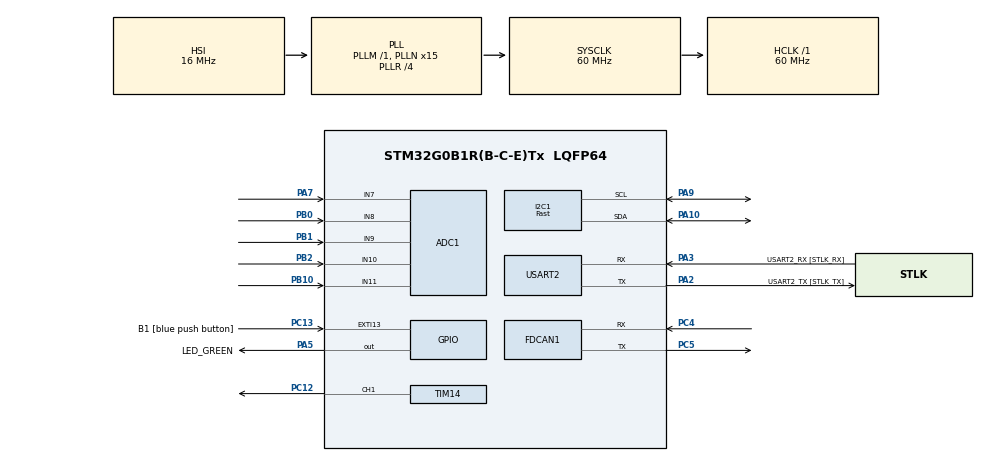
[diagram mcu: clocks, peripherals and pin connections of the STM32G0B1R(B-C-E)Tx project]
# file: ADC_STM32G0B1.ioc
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ADC1.Channel-0\#ChannelRegularConversion=ADC_CHANNEL_7
ADC1.Channel-1\#ChannelRegularConversion=ADC_CHANNEL_8
ADC1.Channel-2\#ChannelRegularConversion=ADC_CHANNEL_9
ADC1.Channel-3\#ChannelRegularConversion=ADC_CHANNEL_10
ADC1.Channel-4\#ChannelRegularConversion=ADC_CHANNEL_11
ADC1.ClockPrescaler=ADC_CLOCK_SYNC_PCLK_DIV4
ADC1.ContinuousConvMode=ENABLE
ADC1.DMAContinuousRequests=DISABLE
ADC1.DiscontinuousConvMode=DISABLE
ADC1.EOCSelection=ADC_EOC_SEQ_CONV
ADC1.LowPowerAutoWait=DISABLE
ADC1.NbrOfConversion=5
ADC1.NbrOfConversionFlag=1
ADC1.Overrun=ADC_OVR_DATA_OVERWRITTEN
ADC1.OversamplingMode=DISABLE
ADC1.Rank-0\#ChannelRegularConversion=1
ADC1.Rank-1\#ChannelRegularConversion=2
ADC1.Rank-2\#ChannelRegularConversion=3
ADC1.Rank-3\#ChannelRegularConversion=4
ADC1.Rank-4\#ChannelRegularConversion=5
ADC1.SamplingTime-0\#ChannelRegularConversion=ADC_SAMPLINGTIME_COMMON_1
ADC1.SamplingTime-1\#ChannelRegularConversion=ADC_SAMPLINGTIME_COMMON_1
ADC1.SamplingTime-2\#ChannelRegularConversion=ADC_SAMPLINGTIME_COMMON_1
ADC1.SamplingTime-3\#ChannelRegularConversion=ADC_SAMPLINGTIME_COMMON_1
ADC1.SamplingTime-4\#ChannelRegularConversion=ADC_SAMPLINGTIME_COMMON_1
ADC1.SamplingTimeCommon1=ADC_SAMPLETIME_19CYCLES_5
ADC1.SamplingTimeCommon2=ADC_SAMPLETIME_19CYCLES_5
ADC1.SelectedChannel=ADC_CHANNEL_7|ADC_CHANNEL_8|ADC_CHANNEL_9|ADC_CHANNEL_10|ADC_CHANNEL_11
ADC1.master=1
Dma.ADC1.0.Direction=DMA_PERIPH_TO_MEMORY
Dma.ADC1.0.EventEnable=DISABLE
Dma.ADC1.0.Instance=DMA1_Channel1
Dma.ADC1.0.MemDataAlignment=DMA_MDATAALIGN_WORD
Dma.ADC1.0.MemInc=DMA_MINC_ENABLE
Dma.ADC1.0.Mode=DMA_CIRCULAR
Dma.ADC1.0.PeriphDataAlignment=DMA_PDATAALIGN_HALFWORD
Dma.ADC1.0.PeriphInc=DMA_PINC_DISABLE
Dma.ADC1.0.Polarity=HAL_DMAMUX_REQ_GEN_RISING
Dma.ADC1.0.Priority=DMA_PRIORITY_HIGH
Dma.ADC1.0.RequestNumber=1
Dma.ADC1.0.SignalID=NONE
Dma.ADC1.0.SyncEnable=DISABLE
Dma.ADC1.0.SyncPolarity=HAL_DMAMUX_SYNC_NO_EVENT
Dma.ADC1.0.SyncRequestNumber=1
Dma.ADC1.0.SyncSignalID=NONE
Dma.Request0=ADC1
FDCAN1.AutoRetransmission=ENABLE
FDCAN1.CalculateBaudRateNominal=500000
FDCAN1.CalculateTimeBitNominal=2000
FDCAN1.CalculateTimeQuantumNominal=200.0
FDCAN1.NominalPrescaler=12
FDCAN1.NominalTimeSeg1=8
FDCAN1.NominalTimeSeg2=1
I2C1.I2C_Speed_Mode=I2C_Fast
I2C1.Timing=0x00B01E60
Mcu.Family=STM32G0
Mcu.Name=STM32G0B1R(B-C-E)Tx
Mcu.Package=LQFP64
NVIC.DMA1_Channel1_IRQn=true\:0\:0\:false\:false\:true\:false\:true\:true
NVIC.TIM16_FDCAN_IT0_IRQn=true\:0\:0\:false\:false\:true\:true\:true\:true
PA10.Mode=I2C
PA10.Signal=I2C1_SDA
PA13.GPIO_Label=TMS
PA13.Mode=Serial_Wire
PA13.Signal=SYS_SWDIO
PA14-BOOT0.GPIO_Label=TCK
PA14-BOOT0.Mode=Serial_Wire
PA14-BOOT0.Signal=SYS_SWCLK
PA2.GPIO_Label=USART2_TX [STLK_TX]
PA2.Mode=Asynchronous
PA2.Signal=USART2_TX
PA3.GPIO_Label=USART2_RX [STLK_RX]
PA3.Mode=Asynchronous
PA3.Signal=USART2_RX
PA5.GPIO_Label=LED_GREEN
PA5.GPIO_Speed=GPIO_SPEED_FREQ_HIGH
PA5.Signal=GPIO_Output
PA7.Mode=IN7
PA7.Signal=ADC1_IN7
PA9.Mode=I2C
PA9.Signal=I2C1_SCL
PB0.Mode=IN8
PB0.Signal=ADC1_IN8
PB1.Mode=IN9
PB1.Signal=ADC1_IN9
PB10.Mode=IN11
PB10.Signal=ADC1_IN11
PB2.Mode=IN10
PB2.Signal=ADC1_IN10
PC12.Signal=S_TIM14_CH1
PC13.GPIO_Label=B1 [blue push button]
PC13.Signal=GPXTI13
PC14-OSC32_IN\ (PC14).Mode=LSE-External-Oscillator
PC14-OSC32_IN\ (PC14).Signal=RCC_OSC32_IN
PC15-OSC32_OUT\ (PC15).Mode=LSE-External-Oscillator
PC15-OSC32_OUT\ (PC15).Signal=RCC_OSC32_OUT
PC4.Mode=FDCAN_Activate
PC4.Signal=FDCAN1_RX
PC5.Mode=FDCAN_Activate
PC5.Signal=FDCAN1_TX
PF0-OSC_IN\ (PF0).Mode=HSE-External-Oscillator
PF0-OSC_IN\ (PF0).Signal=RCC_OSC_IN
PF1-OSC_OUT\ (PF1).Mode=HSE-External-Oscillator
PF1-OSC_OUT\ (PF1).Signal=RCC_OSC_OUT
ProjectManager.HeapSize=0x200
ProjectManager.StackSize=0x400
ProjectManager.TargetToolchain=STM32CubeIDE
RCC.ADCFreq_Value=60000000
RCC.AHBFreq_Value=60000000
RCC.CortexFreq_Value=60000000
RCC.EXTERNAL_CLOCK_VALUE=12288000
RCC.HCLKFreq_Value=60000000
RCC.HSE_VALUE=8000000
RCC.HSI48_VALUE=48000000
RCC.HSI_VALUE=16000000
RCC.PLLN=15
RCC.PLLR=RCC_PLLR_DIV4
RCC.SYSCLKFreq_VALUE=60000000
RCC.SYSCLKSource=RCC_SYSCLKSOURCE_PLLCLK
RCC.USBFreq_Value=48000000
RCC.VCOOutputFreq_Value=240000000
SH.S_TIM14_CH1.0=TIM14_CH1,PWM Generation1 CH1
TIM14.Channel=TIM_CHANNEL_1
USART2.VirtualMode-Asynchronous=VM_ASYNC
VP_SYS_VS_DBSignals.Mode=DisableDeadBatterySignals
VP_TIM14_VS_ClockSourceINT.Mode=Enable_Timer
VP_TIM1_VS_ClockSourceINT.Mode=Internal
VP_TIM2_VS_ClockSourceINT.Mode=Internal
VP_TIM3_VS_ClockSourceINT.Mode=Internal
board=NUCLEO-G0B1RE

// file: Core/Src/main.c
/* USER CODE BEGIN Header */
/**
  ******************************************************************************
  * @file           : main.c
  * @brief          : Main program body
  ******************************************************************************
  * @attention
  *
  * Copyright (c) 2026 STMicroelectronics.
  * All rights reserved.
  *
  * This software is licensed under terms that can be found in the LICENSE file
  * in the root directory of this software component.
  * If no LICENSE file comes with this software, it is provided AS-IS.
  *
  ******************************************************************************
  */
/* USER CODE END Header */
#include "main.h"

ADC_HandleTypeDef hadc1;
DMA_HandleTypeDef hdma_adc1;

FDCAN_HandleTypeDef hfdcan1;

I2C_HandleTypeDef hi2c1;

TIM_HandleTypeDef htim1;
TIM_HandleTypeDef htim2;
TIM_HandleTypeDef htim3;
TIM_HandleTypeDef htim14;

UART_HandleTypeDef huart2;

void SystemClock_Config(void);
static void MX_GPIO_Init(void);
static void MX_DMA_Init(void);
static void MX_ADC1_Init(void);
static void MX_USART2_UART_Init(void);
static void MX_FDCAN1_Init(void);
static void MX_I2C1_Init(void);
static void MX_TIM1_Init(void);
static void MX_TIM2_Init(void);
static void MX_TIM3_Init(void);
static void MX_TIM14_Init(void);

/* USER CODE BEGIN 0 */
uint32_t ADC_Value[5]={0};
float ADC_VOL[5] = {0.0f};
void HAL_ADC_ConvCpltCallback(ADC_HandleTypeDef *hadc){

	if(hadc->Instance==ADC1){
	for(int i =0; i<5; i++){
		if(ADC_Value[i]>4294967295)
			ADC_Value[i] = 0;
		ADC_VOL[i] = (ADC_Value[i]*3.3f)/(4095.0f);

	}

	}
}
/* USER CODE END 0 */

int main(void)
{

  /* MCU Configuration--------------------------------------------------------*/

  /* Reset of all peripherals, Initializes the Flash interface and the Systick. */
  HAL_Init();

  /* Configure the system clock */
  SystemClock_Config();

  /* Initialize all configured peripherals */
  MX_GPIO_Init();
  MX_DMA_Init();
  MX_ADC1_Init();
  MX_USART2_UART_Init();
  MX_FDCAN1_Init();
  MX_I2C1_Init();
  MX_TIM1_Init();
  MX_TIM2_Init();
  MX_TIM3_Init();
  MX_TIM14_Init();
  /* USER CODE BEGIN 2 */
//  HAL_ADC_Start(&hadc1);
  HAL_ADC_Start_DMA(&hadc1, (uint32_t*)ADC_Value, 5);
  /* USER CODE END 2 */

  /* Infinite loop */
  /* USER CODE BEGIN WHILE */
  while (1)
  {
//	  for(int i =0; i <5; i++){
//	  HAL_ADC_PollForConversion(&hadc1, HAL_MAX_DELAY);
//	  ADC_Value[i] = HAL_ADC_GetValue(&hadc1);
//	  ADC_VOL[i] = ADC_Value[i]*3.3/4095;
//  }
	  if((ADC_VOL[0]>1.0f)||(ADC_VOL[1]<1.0f)||(ADC_VOL[2]<1.0f)||(ADC_VOL[3]<1.0f)||(ADC_VOL[4]<1.0f))
		  HAL_GPIO_TogglePin(GPIOA, GPIO_PIN_5);
	  else
		  HAL_GPIO_WritePin(GPIOA, GPIO_PIN_5, GPIO_PIN_RESET);
	  HAL_ADC_Start_DMA(&hadc1, (uint32_t*)ADC_Value, 5);
	  HAL_Delay(500);
    /* USER CODE END WHILE */

  }
}

void SystemClock_Config(void)
{
  RCC_OscInitTypeDef RCC_OscInitStruct = {0};
  RCC_ClkInitTypeDef RCC_ClkInitStruct = {0};

  /** Configure the main internal regulator output voltage
  */
  HAL_PWREx_ControlVoltageScaling(PWR_REGULATOR_VOLTAGE_SCALE1);

  /** Initializes the RCC Oscillators according to the specified parameters
  * in the RCC_OscInitTypeDef structure.
  */
  RCC_OscInitStruct.OscillatorType = RCC_OSCILLATORTYPE_HSI;
  RCC_OscInitStruct.HSIState = RCC_HSI_ON;
  RCC_OscInitStruct.HSIDiv = RCC_HSI_DIV1;
  RCC_OscInitStruct.HSICalibrationValue = RCC_HSICALIBRATION_DEFAULT;
  RCC_OscInitStruct.PLL.PLLState = RCC_PLL_ON;
  RCC_OscInitStruct.PLL.PLLSource = RCC_PLLSOURCE_HSI;
  RCC_OscInitStruct.PLL.PLLM = RCC_PLLM_DIV1;
  RCC_OscInitStruct.PLL.PLLN = 15;
  RCC_OscInitStruct.PLL.PLLP = RCC_PLLP_DIV2;
  RCC_OscInitStruct.PLL.PLLQ = RCC_PLLQ_DIV2;
  RCC_OscInitStruct.PLL.PLLR = RCC_PLLR_DIV4;
  if (HAL_RCC_OscConfig(&RCC_OscInitStruct) != HAL_OK)
  {
    Error_Handler();
  }

  /** Initializes the CPU, AHB and APB buses clocks
  */
  RCC_ClkInitStruct.ClockType = RCC_CLOCKTYPE_HCLK|RCC_CLOCKTYPE_SYSCLK
                              |RCC_CLOCKTYPE_PCLK1;
  RCC_ClkInitStruct.SYSCLKSource = RCC_SYSCLKSOURCE_PLLCLK;
  RCC_ClkInitStruct.AHBCLKDivider = RCC_SYSCLK_DIV1;
  RCC_ClkInitStruct.APB1CLKDivider = RCC_HCLK_DIV1;

  if (HAL_RCC_ClockConfig(&RCC_ClkInitStruct, FLASH_LATENCY_2) != HAL_OK)
  {
    Error_Handler();
  }
}

static void MX_ADC1_Init(void)
{

  ADC_ChannelConfTypeDef sConfig = {0};

  /** Configure the global features of the ADC (Clock, Resolution, Data Alignment and number of conversion)
  */
  hadc1.Instance = ADC1;
  hadc1.Init.ClockPrescaler = ADC_CLOCK_SYNC_PCLK_DIV4;
  hadc1.Init.Resolution = ADC_RESOLUTION_12B;
  hadc1.Init.DataAlign = ADC_DATAALIGN_RIGHT;
  hadc1.Init.ScanConvMode = ADC_SCAN_ENABLE;
  hadc1.Init.EOCSelection = ADC_EOC_SEQ_CONV;
  hadc1.Init.LowPowerAutoWait = DISABLE;
  hadc1.Init.LowPowerAutoPowerOff = DISABLE;
  hadc1.Init.ContinuousConvMode = ENABLE;
  hadc1.Init.NbrOfConversion = 5;
  hadc1.Init.DiscontinuousConvMode = DISABLE;
  hadc1.Init.ExternalTrigConv = ADC_SOFTWARE_START;
  hadc1.Init.ExternalTrigConvEdge = ADC_EXTERNALTRIGCONVEDGE_NONE;
  hadc1.Init.DMAContinuousRequests = DISABLE;
  hadc1.Init.Overrun = ADC_OVR_DATA_OVERWRITTEN;
  hadc1.Init.SamplingTimeCommon1 = ADC_SAMPLETIME_19CYCLES_5;
  hadc1.Init.SamplingTimeCommon2 = ADC_SAMPLETIME_19CYCLES_5;
  hadc1.Init.OversamplingMode = DISABLE;
  hadc1.Init.TriggerFrequencyMode = ADC_TRIGGER_FREQ_HIGH;
  if (HAL_ADC_Init(&hadc1) != HAL_OK)
  {
    Error_Handler();
  }

  /** Configure Regular Channel
  */
  sConfig.Channel = ADC_CHANNEL_7;
  sConfig.Rank = ADC_REGULAR_RANK_1;
  sConfig.SamplingTime = ADC_SAMPLINGTIME_COMMON_1;
  if (HAL_ADC_ConfigChannel(&hadc1, &sConfig) != HAL_OK)
  {
    Error_Handler();
  }

  /** Configure Regular Channel
  */
  sConfig.Channel = ADC_CHANNEL_8;
  sConfig.Rank = ADC_REGULAR_RANK_2;
  if (HAL_ADC_ConfigChannel(&hadc1, &sConfig) != HAL_OK)
  {
    Error_Handler();
  }

  /** Configure Regular Channel
  */
  sConfig.Channel = ADC_CHANNEL_9;
  sConfig.Rank = ADC_REGULAR_RANK_3;
  if (HAL_ADC_ConfigChannel(&hadc1, &sConfig) != HAL_OK)
  {
    Error_Handler();
  }

  /** Configure Regular Channel
  */
  sConfig.Channel = ADC_CHANNEL_10;
  sConfig.Rank = ADC_REGULAR_RANK_4;
  if (HAL_ADC_ConfigChannel(&hadc1, &sConfig) != HAL_OK)
  {
    Error_Handler();
  }

  /** Configure Regular Channel
  */
  sConfig.Channel = ADC_CHANNEL_11;
  sConfig.Rank = ADC_REGULAR_RANK_5;
  if (HAL_ADC_ConfigChannel(&hadc1, &sConfig) != HAL_OK)
  {
    Error_Handler();
  }

}

static void MX_FDCAN1_Init(void)
{

  hfdcan1.Instance = FDCAN1;
  hfdcan1.Init.ClockDivider = FDCAN_CLOCK_DIV1;
  hfdcan1.Init.FrameFormat = FDCAN_FRAME_CLASSIC;
  hfdcan1.Init.Mode = FDCAN_MODE_NORMAL;
  hfdcan1.Init.AutoRetransmission = ENABLE;
  hfdcan1.Init.TransmitPause = DISABLE;
  hfdcan1.Init.ProtocolException = DISABLE;
  hfdcan1.Init.NominalPrescaler = 12;
  hfdcan1.Init.NominalSyncJumpWidth = 1;
  hfdcan1.Init.NominalTimeSeg1 = 8;
  hfdcan1.Init.NominalTimeSeg2 = 1;
  hfdcan1.Init.DataPrescaler = 1;
  hfdcan1.Init.DataSyncJumpWidth = 1;
  hfdcan1.Init.DataTimeSeg1 = 1;
  hfdcan1.Init.DataTimeSeg2 = 1;
  hfdcan1.Init.StdFiltersNbr = 0;
  hfdcan1.Init.ExtFiltersNbr = 0;
  hfdcan1.Init.TxFifoQueueMode = FDCAN_TX_FIFO_OPERATION;
  if (HAL_FDCAN_Init(&hfdcan1) != HAL_OK)
  {
    Error_Handler();
  }

}

static void MX_I2C1_Init(void)
{

  hi2c1.Instance = I2C1;
  hi2c1.Init.Timing = 0x00B01E60;
  hi2c1.Init.OwnAddress1 = 0;
  hi2c1.Init.AddressingMode = I2C_ADDRESSINGMODE_7BIT;
  hi2c1.Init.DualAddressMode = I2C_DUALADDRESS_DISABLE;
  hi2c1.Init.OwnAddress2 = 0;
  hi2c1.Init.OwnAddress2Masks = I2C_OA2_NOMASK;
  hi2c1.Init.GeneralCallMode = I2C_GENERALCALL_DISABLE;
  hi2c1.Init.NoStretchMode = I2C_NOSTRETCH_DISABLE;
  if (HAL_I2C_Init(&hi2c1) != HAL_OK)
  {
    Error_Handler();
  }

  /** Configure Analogue filter
  */
  if (HAL_I2CEx_ConfigAnalogFilter(&hi2c1, I2C_ANALOGFILTER_ENABLE) != HAL_OK)
  {
    Error_Handler();
  }

  /** Configure Digital filter
  */
  if (HAL_I2CEx_ConfigDigitalFilter(&hi2c1, 0) != HAL_OK)
  {
    Error_Handler();
  }

}

static void MX_TIM1_Init(void)
{

  TIM_ClockConfigTypeDef sClockSourceConfig = {0};
  TIM_MasterConfigTypeDef sMasterConfig = {0};

  htim1.Instance = TIM1;
  htim1.Init.Prescaler = 0;
  htim1.Init.CounterMode = TIM_COUNTERMODE_UP;
  htim1.Init.Period = 65535;
  htim1.Init.ClockDivision = TIM_CLOCKDIVISION_DIV1;
  htim1.Init.RepetitionCounter = 0;
  htim1.Init.AutoReloadPreload = TIM_AUTORELOAD_PRELOAD_DISABLE;
  if (HAL_TIM_Base_Init(&htim1) != HAL_OK)
  {
    Error_Handler();
  }
  sClockSourceConfig.ClockSource = TIM_CLOCKSOURCE_INTERNAL;
  if (HAL_TIM_ConfigClockSource(&htim1, &sClockSourceConfig) != HAL_OK)
  {
    Error_Handler();
  }
  sMasterConfig.MasterOutputTrigger = TIM_TRGO_RESET;
  sMasterConfig.MasterOutputTrigger2 = TIM_TRGO2_RESET;
  sMasterConfig.MasterSlaveMode = TIM_MASTERSLAVEMODE_DISABLE;
  if (HAL_TIMEx_MasterConfigSynchronization(&htim1, &sMasterConfig) != HAL_OK)
  {
    Error_Handler();
  }

}

static void MX_TIM2_Init(void)
{

  TIM_ClockConfigTypeDef sClockSourceConfig = {0};
  TIM_MasterConfigTypeDef sMasterConfig = {0};

  htim2.Instance = TIM2;
  htim2.Init.Prescaler = 0;
  htim2.Init.CounterMode = TIM_COUNTERMODE_UP;
  htim2.Init.Period = 4294967295;
  htim2.Init.ClockDivision = TIM_CLOCKDIVISION_DIV1;
  htim2.Init.AutoReloadPreload = TIM_AUTORELOAD_PRELOAD_DISABLE;
  if (HAL_TIM_Base_Init(&htim2) != HAL_OK)
  {
    Error_Handler();
  }
  sClockSourceConfig.ClockSource = TIM_CLOCKSOURCE_INTERNAL;
  if (HAL_TIM_ConfigClockSource(&htim2, &sClockSourceConfig) != HAL_OK)
  {
    Error_Handler();
  }
  sMasterConfig.MasterOutputTrigger = TIM_TRGO_RESET;
  sMasterConfig.MasterSlaveMode = TIM_MASTERSLAVEMODE_DISABLE;
  if (HAL_TIMEx_MasterConfigSynchronization(&htim2, &sMasterConfig) != HAL_OK)
  {
    Error_Handler();
  }

}

static void MX_TIM3_Init(void)
{

  TIM_ClockConfigTypeDef sClockSourceConfig = {0};
  TIM_MasterConfigTypeDef sMasterConfig = {0};

  htim3.Instance = TIM3;
  htim3.Init.Prescaler = 0;
  htim3.Init.CounterMode = TIM_COUNTERMODE_UP;
  htim3.Init.Period = 65535;
  htim3.Init.ClockDivision = TIM_CLOCKDIVISION_DIV1;
  htim3.Init.AutoReloadPreload = TIM_AUTORELOAD_PRELOAD_DISABLE;
  if (HAL_TIM_Base_Init(&htim3) != HAL_OK)
  {
    Error_Handler();
  }
  sClockSourceConfig.ClockSource = TIM_CLOCKSOURCE_INTERNAL;
  if (HAL_TIM_ConfigClockSource(&htim3, &sClockSourceConfig) != HAL_OK)
  {
    Error_Handler();
  }
  sMasterConfig.MasterOutputTrigger = TIM_TRGO_RESET;
  sMasterConfig.MasterSlaveMode = TIM_MASTERSLAVEMODE_DISABLE;
  if (HAL_TIMEx_MasterConfigSynchronization(&htim3, &sMasterConfig) != HAL_OK)
  {
    Error_Handler();
  }

}

static void MX_TIM14_Init(void)
{

  TIM_OC_InitTypeDef sConfigOC = {0};

  htim14.Instance = TIM14;
  htim14.Init.Prescaler = 0;
  htim14.Init.CounterMode = TIM_COUNTERMODE_UP;
  htim14.Init.Period = 65535;
  htim14.Init.ClockDivision = TIM_CLOCKDIVISION_DIV1;
  htim14.Init.AutoReloadPreload = TIM_AUTORELOAD_PRELOAD_DISABLE;
  if (HAL_TIM_Base_Init(&htim14) != HAL_OK)
  {
    Error_Handler();
  }
  if (HAL_TIM_PWM_Init(&htim14) != HAL_OK)
  {
    Error_Handler();
  }
  sConfigOC.OCMode = TIM_OCMODE_PWM1;
  sConfigOC.Pulse = 0;
  sConfigOC.OCPolarity = TIM_OCPOLARITY_HIGH;
  sConfigOC.OCFastMode = TIM_OCFAST_DISABLE;
  if (HAL_TIM_PWM_ConfigChannel(&htim14, &sConfigOC, TIM_CHANNEL_1) != HAL_OK)
  {
    Error_Handler();
  }
  HAL_TIM_MspPostInit(&htim14);

}

static void MX_USART2_UART_Init(void)
{

  huart2.Instance = USART2;
  huart2.Init.BaudRate = 115200;
  huart2.Init.WordLength = UART_WORDLENGTH_8B;
  huart2.Init.StopBits = UART_STOPBITS_1;
  huart2.Init.Parity = UART_PARITY_NONE;
  huart2.Init.Mode = UART_MODE_TX_RX;
  huart2.Init.HwFlowCtl = UART_HWCONTROL_NONE;
  huart2.Init.OverSampling = UART_OVERSAMPLING_16;
  huart2.Init.OneBitSampling = UART_ONE_BIT_SAMPLE_DISABLE;
  huart2.Init.ClockPrescaler = UART_PRESCALER_DIV1;
  huart2.AdvancedInit.AdvFeatureInit = UART_ADVFEATURE_NO_INIT;
  if (HAL_UART_Init(&huart2) != HAL_OK)
  {
    Error_Handler();
  }
  if (HAL_UARTEx_SetTxFifoThreshold(&huart2, UART_TXFIFO_THRESHOLD_1_8) != HAL_OK)
  {
    Error_Handler();
  }
  if (HAL_UARTEx_SetRxFifoThreshold(&huart2, UART_RXFIFO_THRESHOLD_1_8) != HAL_OK)
  {
    Error_Handler();
  }
  if (HAL_UARTEx_DisableFifoMode(&huart2) != HAL_OK)
  {
    Error_Handler();
  }

}

static void MX_DMA_Init(void)
{

  /* DMA controller clock enable */
  __HAL_RCC_DMA1_CLK_ENABLE();

  /* DMA interrupt init */
  /* DMA1_Channel1_IRQn interrupt configuration */
  HAL_NVIC_SetPriority(DMA1_Channel1_IRQn, 0, 0);
  HAL_NVIC_EnableIRQ(DMA1_Channel1_IRQn);

}

static void MX_GPIO_Init(void)
{
  GPIO_InitTypeDef GPIO_InitStruct = {0};

  /* GPIO Ports Clock Enable */
  __HAL_RCC_GPIOC_CLK_ENABLE();
  __HAL_RCC_GPIOF_CLK_ENABLE();
  __HAL_RCC_GPIOA_CLK_ENABLE();
  __HAL_RCC_GPIOB_CLK_ENABLE();

  /*Configure GPIO pin Output Level */
  HAL_GPIO_WritePin(LED_GREEN_GPIO_Port, LED_GREEN_Pin, GPIO_PIN_RESET);

  /*Configure GPIO pin : B1_Pin */
  GPIO_InitStruct.Pin = B1_Pin;
  GPIO_InitStruct.Mode = GPIO_MODE_IT_RISING;
  GPIO_InitStruct.Pull = GPIO_NOPULL;
  HAL_GPIO_Init(B1_GPIO_Port, &GPIO_InitStruct);

  /*Configure GPIO pin : LED_GREEN_Pin */
  GPIO_InitStruct.Pin = LED_GREEN_Pin;
  GPIO_InitStruct.Mode = GPIO_MODE_OUTPUT_PP;
  GPIO_InitStruct.Pull = GPIO_NOPULL;
  GPIO_InitStruct.Speed = GPIO_SPEED_FREQ_HIGH;
  HAL_GPIO_Init(LED_GREEN_GPIO_Port, &GPIO_InitStruct);

}

void Error_Handler(void)
{
  __disable_irq();
  while (1)
  {
  }
}
